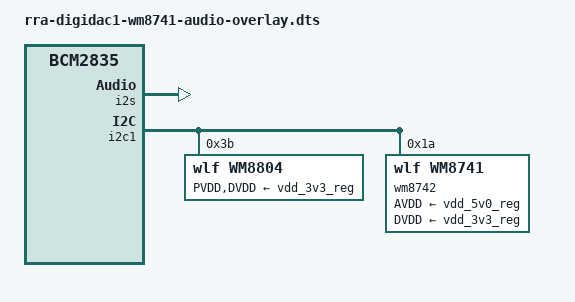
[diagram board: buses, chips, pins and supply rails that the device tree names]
// Definitions for RRA DigiDAC1 Audio card
/dts-v1/;
/plugin/;

/ {
	compatible = "brcm,bcm2835";

	fragment@0 {
		target = <&i2s>;
		__overlay__ {
			status = "okay";
		};
	};

	fragment@1 {
		target = <&i2c1>;
		__overlay__ {
			#address-cells = <1>;
			#size-cells = <0>;
			status = "okay";

			wm8804@3b {
				#sound-dai-cells = <0>;
				compatible = "wlf,wm8804";
				reg = <0x3b>;
				status = "okay";
				PVDD-supply = <&vdd_3v3_reg>;
				DVDD-supply = <&vdd_3v3_reg>;
			};

			wm8742: wm8741@1a {
				compatible = "wlf,wm8741";
				reg = <0x1a>;
				status = "okay";
				AVDD-supply = <&vdd_5v0_reg>;
				DVDD-supply = <&vdd_3v3_reg>;
			};
		};
	};

	fragment@2 {
		target = <&sound>;
		__overlay__ {
			compatible = "rra,digidac1-soundcard";
			i2s-controller = <&i2s>;
			status = "okay";
		};
	};
};
